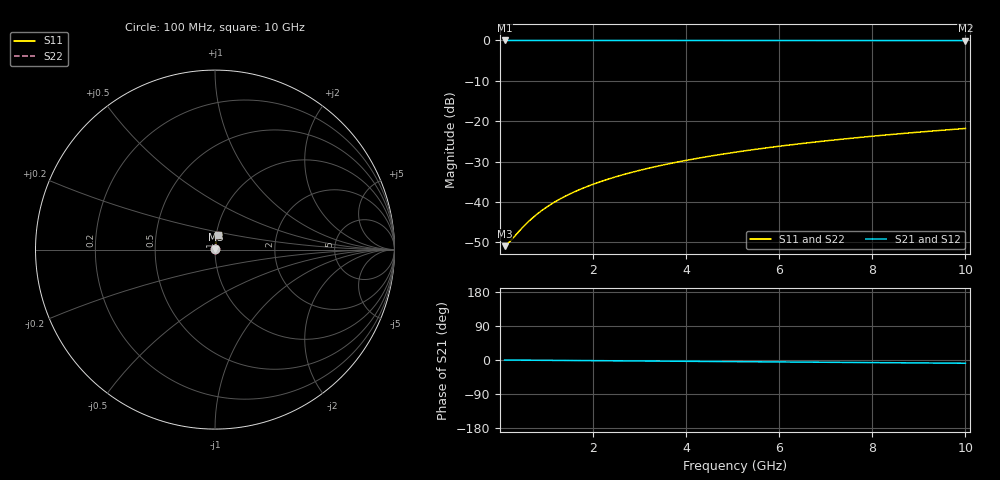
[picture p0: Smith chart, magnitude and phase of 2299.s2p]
# Hz S RI R 50.00
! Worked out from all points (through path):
!   100 points, 100 MHz to 10 GHz, reference 50 ohm
!   highest |S21| = -0.02 dB at 100 MHz (marker M1); lowest = -0.1 dB at 10 GHz (marker M2)
!   group delay of S21, straight-line fit = 2.37 ps
!   lowest |S11| = -50.9 dB at 100 MHz (marker M3), VSWR 1.01, Z = 50.3 + j0.0816 ohm
!   |S11| at or under -10 dB: start of sweep to end of sweep
!   |S22| runs from -50.9 to -21.8 dB; largest |S21 - S12| = 0
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1e8  0.00272 0.000811  0.9973 -0.00149  0.9973 -0.00149  0.00272 0.000811
2e8  0.00274 0.00162  0.9973 -0.00298  0.9973 -0.00298  0.00274 0.00162
5e8  0.0028 0.00406  0.9972 -0.00744  0.9972 -0.00744  0.0028 0.00406
6e8  0.00282 0.00487  0.9972 -0.00893  0.9972 -0.00893  0.00282 0.00487
7e8  0.00284 0.00568  0.9971 -0.0104  0.9971 -0.0104  0.00284 0.00568
9e8  0.00289 0.0073  0.9971 -0.0134  0.9971 -0.0134  0.00289 0.0073
1.1e9  0.00295 0.00892  0.997 -0.0164  0.997 -0.0164  0.00295 0.00892
1.3e9  0.00302 0.0105  0.9969 -0.0193  0.9969 -0.0193  0.00302 0.0105
1.5e9  0.0031 0.0122  0.9968 -0.0223  0.9968 -0.0223  0.0031 0.0122
1.8e9  0.00323 0.0146  0.9967 -0.0268  0.9967 -0.0268  0.00323 0.0146
2.1e9  0.00338 0.017  0.9965 -0.0312  0.9965 -0.0312  0.00338 0.017
2.5e9  0.00362 0.0203  0.9962 -0.0372  0.9962 -0.0372  0.00362 0.0203
2.9e9  0.00389 0.0235  0.9959 -0.0431  0.9959 -0.0431  0.00389 0.0235
3.4e9  0.00428 0.0275  0.9954 -0.0505  0.9954 -0.0505  0.00428 0.0275
3.8e9  0.00464 0.0307  0.995 -0.0565  0.995 -0.0565  0.00464 0.0307
4.2e9  0.00504 0.034  0.9945 -0.0624  0.9945 -0.0624  0.00504 0.034
5.1e9  0.00607 0.0412  0.9933 -0.0757  0.9933 -0.0757  0.00607 0.0412
5.9e9  0.00715 0.0476  0.992 -0.0875  0.992 -0.0875  0.00715 0.0476
6.7e9  0.00838 0.0539  0.9905 -0.0993  0.9905 -0.0993  0.00838 0.0539
7.5e9  0.00976 0.0603  0.9889 -0.1111  0.9889 -0.1111  0.00976 0.0603
8.4e9  0.0115 0.0673  0.9868 -0.1243  0.9868 -0.1243  0.0115 0.0673
1e10  0.015 0.0798  0.9826 -0.1477  0.9826 -0.1477  0.015 0.0798
